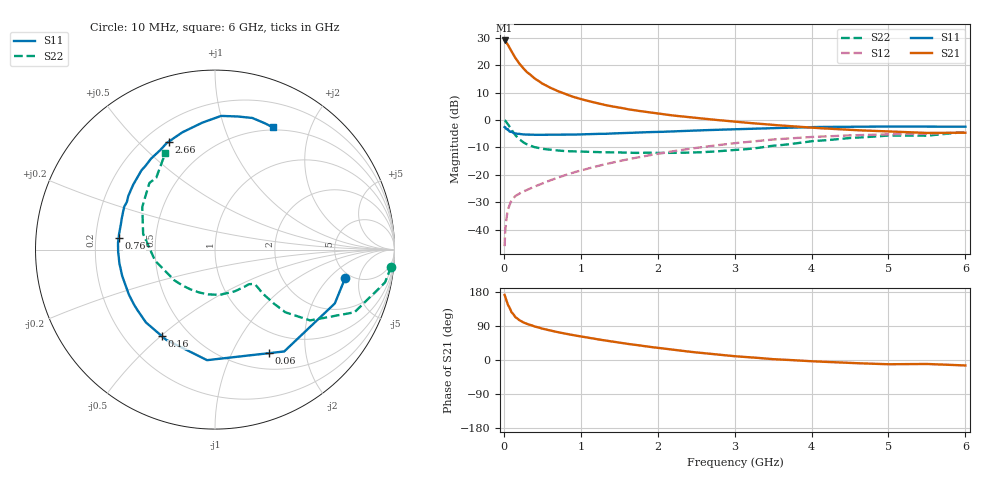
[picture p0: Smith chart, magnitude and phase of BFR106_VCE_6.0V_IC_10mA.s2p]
! Infineon Technologies  Discrete & RF Semiconductors
! BFR106
! VCE =  6.0 V,  IC =  10 mA
! Common Emitter S-Parameters:  Nov 2015
# GHz  S  MA  R  50
!  f  S11  S21  S12  S22
! GHz  MAG  ANG  MAG  ANG  MAG  ANG  MAG  ANG
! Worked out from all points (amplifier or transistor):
!   210 points, 10 MHz to 6 GHz, reference 50 ohm
!   highest |S21| = 29.0 dB at 10 MHz (marker M1)
!   |S21| within 3 dB of that: start of sweep to 79.81 MHz
!   unconditionally stable (mu >= 1): 487.9 MHz to 1.9 GHz; 5.334 GHz to end of sweep
!   at 185 MHz: K = 0.56, MSG = 24.2 dB, |S12| = -27.1 dB
!   at 1.52 GHz: K = 1.07, MAG = 8.1 dB, |S12| = -14.9 dB
!   at 6 GHz: K = 1.01, MAG = -0.5 dB, |S12| = -4.5 dB
!   S11 on the Smith chart (normalised r, x): 10 MHz: 4.49, -3.14; 60 MHz: 0.70, -1.40; 160 MHz: 0.36, -0.51; 760 MHz: 0.30, +0.05; 2.66 GHz: 0.29, +0.62; 6 GHz: 0.47, +1.48
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0.01  0.7426 -12.2  28.2 171.8  0.005 86.5  0.986 -5.5
0.02  0.7319 -24.2  27.58 165.2  0.0102 78.8  0.965 -10.9
0.05  0.6861 -55.8  23.84 146.3  0.0224 64.9  0.8522 -24.2
0.06  0.6503 -62.6  22.46 143.2  0.0247 61.6  0.8111 -26.2
0.1  0.6176 -94.1  17.86 126.1  0.0346 53.1  0.6599 -36.7
0.15  0.5715 -118.5  13.5 113.0  0.0411 48.0  0.5249 -41.7
0.16  0.566 -121.4  12.93 111.7  0.042 47.9  0.5095 -41.8
0.2  0.5592 -133.5  10.76 105.4  0.0454 47.4  0.448 -42.5
0.24  0.5479 -142.3  9.204 100.7  0.0485 47.9  0.4035 -42.6
0.3  0.5413 -152.4  7.471 95.1  0.053 49.8  0.3604 -42.6
0.4  0.5375 -164.1  5.726 88.5  0.061 53.0  0.3195 -41.4
0.5  0.538 -171.7  4.612 82.8  0.0694 55.5  0.2982 -41.1
0.6  0.5397 -178.7  3.897 77.9  0.079 58.3  0.2864 -42.0
0.76  0.5413 173.1  3.126 71.2  0.0947 60.7  0.2734 -44.7
1.02  0.5479 161.4  2.366 61.4  0.122 62.9  0.2651 -50.7
1.4  0.5682 148.2  1.777 49.1  0.1653 63.1  0.2579 -63.2
2.02  0.6059 129.9  1.299 31.5  0.2444 58.8  0.2508 -90.1
2.66  0.6543 113.1  1.032 16.7  0.3308 50.9  0.2617 -124.1
3.1  0.6832 103.5  0.905 8.6  0.3891 44.0  0.2896 -149.1
4.1  0.746 86.0  0.71 -4.2  0.4961 26.9  0.4182 163.7
5.1  0.7605 73.0  0.609 -11.1  0.5502 11.3  0.5198 133.5
6  0.7536 64.6  0.586 -14.4  0.5926 0.1  0.6062 117.1
